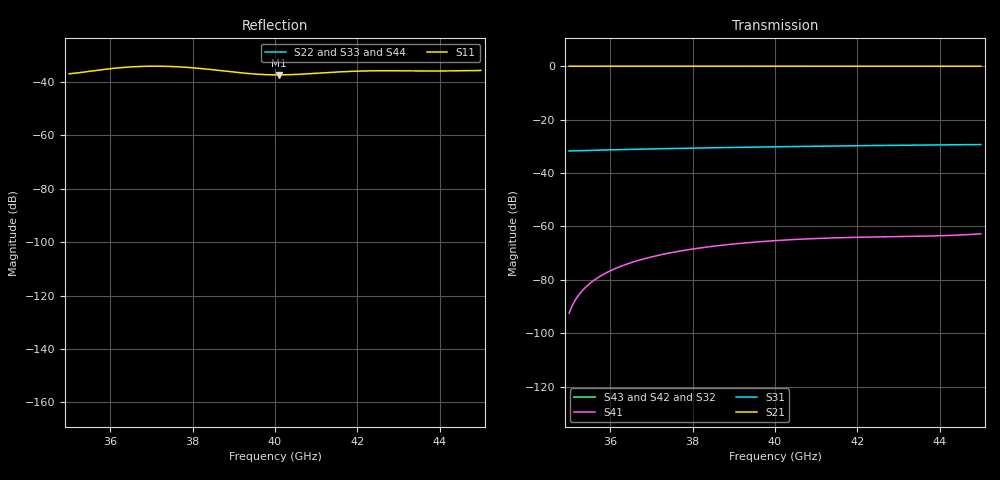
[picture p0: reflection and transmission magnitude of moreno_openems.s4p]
! Moreno cross-guide coupler, openEMS FDTD
! only column 1 (port 1 excited) and, by reciprocity, row 1 are simulated; other entries are zero
! S-parameters are normalised to each port's TE10 wave impedance (generalised
! S-matrix); 'R 50' below is only the placeholder the format requires.
! Reference planes: edges of the common a x a square.
# GHz S MA R 50
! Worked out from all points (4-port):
!   201 points, 35 GHz to 45 GHz, reference 50 ohm
!   strongest paths, dB at 35 GHz, 37.5 GHz, 40 GHz, 42.5 GHz, 45 GHz:
!     S21: 0.0, 0.0, 0.0, 0.0, 0.0
!     S31: -31.8, -30.8, -30.2, -29.7, -29.3
!     S41: -92.5, -69.8, -65.3, -63.9, -62.8
!     S43: -, -, -, -, -
!     S42: -, -, -, -, -
!     S32: -, -, -, -, -
!   lowest |S11| = -37.3 dB at 40.1 GHz (marker M1), VSWR 1.03, Z = 51.3 + j0.475 ohm
!   |S11| at or under -10 dB: start of sweep to end of sweep
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35  0.01422 -145.0  0.9983 -159.8  0.02583 110.2  2.372e-05 162.3
    0.9983 -159.8  0 0.0  0 0.0  0 0.0
    0.02583 110.2  0 0.0  0 0.0  0 0.0
    2.372e-05 162.3  0 0.0  0 0.0  0 0.0
35.6  0.01623 -119.7  0.9998 -166.1  0.02662 103.9  9.749e-05 152.3
      0.9998 -166.1  0 0.0  0 0.0  0 0.0
      0.02662 103.9  0 0.0  0 0.0  0 0.0
      9.749e-05 152.3  0 0.0  0 0.0  0 0.0
36.3  0.01868 -98.4  1.001 -173.3  0.02747 96.8  0.0001846 136.7
      1.001 -173.3  0 0.0  0 0.0  0 0.0
      0.02747 96.8  0 0.0  0 0.0  0 0.0
      0.0001846 136.7  0 0.0  0 0.0  0 0.0
37.15  0.01977 -77.7  1 178.2  0.02839 88.2  0.0002855 119.1
       1 178.2  0 0.0  0 0.0  0 0.0
       0.02839 88.2  0 0.0  0 0.0  0 0.0
       0.0002855 119.1  0 0.0  0 0.0  0 0.0
40.1  0.0136 19.9  0.9992 150.0  0.03103 60.0  0.0005474 68.5
      0.9992 150.0  0 0.0  0 0.0  0 0.0
      0.03103 60.0  0 0.0  0 0.0  0 0.0
      0.0005474 68.5  0 0.0  0 0.0  0 0.0
42.65  0.01623 106.9  1 126.6  0.03283 36.6  0.0006388 35.9
       1 126.6  0 0.0  0 0.0  0 0.0
       0.03283 36.6  0 0.0  0 0.0  0 0.0
       0.0006388 35.9  0 0.0  0 0.0  0 0.0
45  0.01643 -179.6  0.9975 105.8  0.0341 15.8  0.0007264 16.7
    0.9975 105.8  0 0.0  0 0.0  0 0.0
    0.0341 15.8  0 0.0  0 0.0  0 0.0
    0.0007264 16.7  0 0.0  0 0.0  0 0.0
